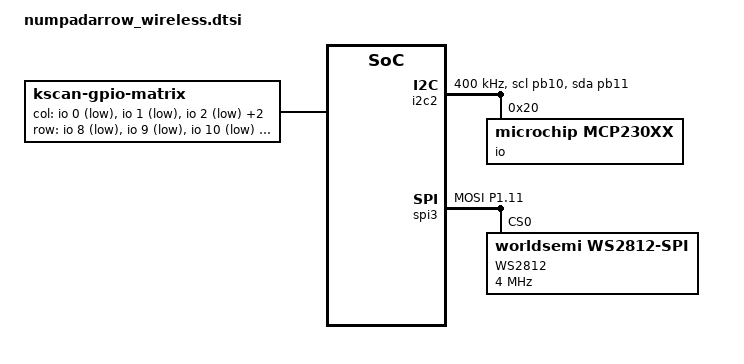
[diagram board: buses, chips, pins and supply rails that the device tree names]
/*
 * Copyright (c) 2020 Pete Johanson, Richard Jones
 *
 * SPDX-License-Identifier: MIT
 */

#include <dt-bindings/zmk/matrix_transform.h>
#include <dt-bindings/led/led.h>

/ {
    chosen {
        zmk,kscan = &kscan0;
        zmk,underglow = &led_strip;
    };


    kscan0: kscan {
        compatible = "zmk,kscan-gpio-matrix";
        label = "KSCAN";

        diode-direction = "col2row";
        col-gpios
            = <&io 0 (GPIO_ACTIVE_LOW | GPIO_PULL_UP)>
            , <&io 1 (GPIO_ACTIVE_LOW | GPIO_PULL_UP)>
            , <&io 2 (GPIO_ACTIVE_LOW | GPIO_PULL_UP)>
            , <&io 3 (GPIO_ACTIVE_LOW | GPIO_PULL_UP)>
            , <&io 4 (GPIO_ACTIVE_LOW | GPIO_PULL_UP)>
            ;
        row-gpios
            = <&io 8  (GPIO_ACTIVE_LOW)>
            , <&io 9  (GPIO_ACTIVE_LOW)>
            , <&io 10 (GPIO_ACTIVE_LOW)>
            , <&io 11 (GPIO_ACTIVE_LOW)>
            ;

    };

};

&i2c2 {
    pinctrl-0 = <&i2c2_scl_pb10 &i2c2_sda_pb11>;
    pinctrl-names = "default";
    status = "okay";
    clock-frequency = <I2C_BITRATE_FAST>;

    io: mcp23017@20 {
        compatible = "microchip,mcp230xx";
        status = "okay";
        gpio-controller;
        reg = <0x20>;
        #gpio-cells = <2>;
        ngpios = <16>;
    };
};

&pinctrl {
    spi3_default: spi3_default {
        group1 {
            psels = <NRF_PSEL(SPIM_MOSI, 1, 11)>;
        };
    };

    spi3_sleep: spi3_sleep {
        group1 {
            psels = <NRF_PSEL(SPIM_MOSI, 1, 11)>;
            low-power-enable;
        };
    };
};

&spi3 {
  compatible = "nordic,nrf-spim";
  status = "okay";

  pinctrl-0 = <&spi3_default>;
  pinctrl-1 = <&spi3_sleep>;
  pinctrl-names = "default", "sleep";

  led_strip: ws2812@0 {
    compatible = "worldsemi,ws2812-spi";
    label = "WS2812";

    /* SPI */
    reg = <0>; /* ignored, but necessary for SPI bindings */
    spi-max-frequency = <4000000>;

    /* WS2812 */
    chain-length = <10>; /* number of LEDs */
    spi-one-frame = <0x70>;
    spi-zero-frame = <0x40>;
    color-mapping = <LED_COLOR_ID_GREEN
                          LED_COLOR_ID_RED
                          LED_COLOR_ID_BLUE>;
  };
};
